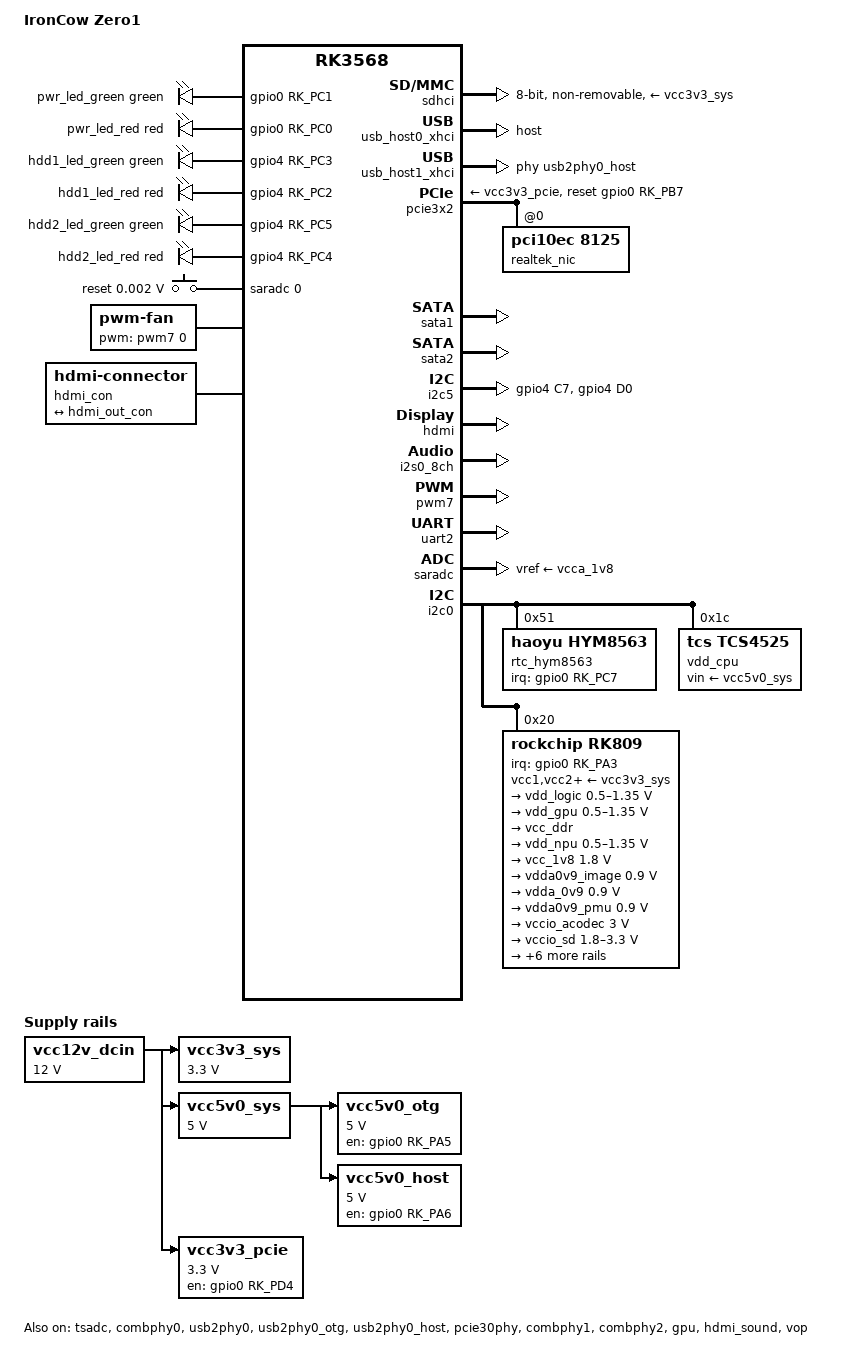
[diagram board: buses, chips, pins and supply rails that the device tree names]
// SPDX-License-Identifier: (GPL-2.0+ OR MIT)

/dts-v1/;

#include <dt-bindings/gpio/gpio.h>
#include <dt-bindings/pinctrl/rockchip.h>
#include <dt-bindings/leds/common.h>
#include <dt-bindings/input/input.h>
#include <dt-bindings/soc/rockchip,vop2.h>
#include "rk3568.dtsi"

/ {
	model = "IronCow Zero1";
	compatible = "yxk,ironcow-zero1", "rockchip,rk3568";

	aliases {
		/* U-Boot writes the MAC address into the node this points at */
		ethernet0 = &realtek_nic;
		mmc0 = &sdhci; /* eMMC */
		rtc0 = &rtc_hym8563; /* Primary Battery-Backed RTC */
		rtc1 = &rk809; /* Secondary PMIC RTC */
	};

	chosen {
		stdout-path = "serial2:1500000n8";
	};

	/* --- POWER REGULATORS --- */
	vcc12v_dcin: regulator-vcc12v-dcin {
		compatible = "regulator-fixed";
		regulator-name = "dc-12v";
		regulator-always-on;
		regulator-boot-on;
		regulator-min-microvolt = <12000000>;
		regulator-max-microvolt = <12000000>;
	};

	vcc3v3_sys: regulator-vcc3v3-sys {
		compatible = "regulator-fixed";
		regulator-name = "vcc3v3_sys";
		regulator-always-on;
		regulator-boot-on;
		regulator-min-microvolt = <3300000>;
		regulator-max-microvolt = <3300000>;
		vin-supply = <&vcc12v_dcin>;
	};

	vcc5v0_sys: regulator-vcc5v0-sys {
		compatible = "regulator-fixed";
		regulator-name = "vcc5v0_sys";
		regulator-always-on;
		regulator-boot-on;
		regulator-min-microvolt = <5000000>;
		regulator-max-microvolt = <5000000>;
		vin-supply = <&vcc12v_dcin>;
	};

	vcc3v3_pcie: regulator-vcc3v3-pcie {
		compatible = "regulator-fixed";
		regulator-name = "vcc3v3_pcie";
		regulator-min-microvolt = <3300000>;
		regulator-max-microvolt = <3300000>;
		enable-active-high;
		gpio = <&gpio0 RK_PD4 GPIO_ACTIVE_HIGH>;
		startup-delay-us = <50000>;
		regulator-always-on;
		regulator-boot-on;
		vin-supply = <&vcc12v_dcin>;
	};

	vcc5v0_otg: regulator-vcc5v0-otg {
		compatible = "regulator-fixed";
		regulator-name = "vcc5v0_otg";
		regulator-min-microvolt = <5000000>;
		regulator-max-microvolt = <5000000>;
		enable-active-high;
		gpio = <&gpio0 RK_PA5 GPIO_ACTIVE_HIGH>;
		regulator-always-on;
		regulator-boot-on;
		vin-supply = <&vcc5v0_sys>;
	};

	/* 5 V for the USB 2.0 Type-C port. Factory DTB: vcc5v0_host, GPIO0 PA6. */
	vcc5v0_host: regulator-vcc5v0-host {
		compatible = "regulator-fixed";
		regulator-name = "vcc5v0_host";
		regulator-min-microvolt = <5000000>;
		regulator-max-microvolt = <5000000>;
		enable-active-high;
		gpio = <&gpio0 RK_PA6 GPIO_ACTIVE_HIGH>;
		vin-supply = <&vcc5v0_sys>;
	};

	/* --- LEDS --- */
	leds {
		compatible = "gpio-leds";

		/* Two-colour power LED */
		pwr_led_green: led-0 {
			color = <LED_COLOR_ID_GREEN>;
			function = LED_FUNCTION_POWER;
			gpios = <&gpio0 RK_PC1 GPIO_ACTIVE_HIGH>;
			default-state = "on";
		};

		pwr_led_red: led-1 {
			color = <LED_COLOR_ID_RED>;
			function = LED_FUNCTION_POWER;
			gpios = <&gpio0 RK_PC0 GPIO_ACTIVE_HIGH>;
		};

		/*
		 * Two-colour LED per drive bay. The disk-activity trigger is not
		 * per port: both green LEDs blink on any SATA activity.
		 */
		hdd1_led_green: led-2 {
			color = <LED_COLOR_ID_GREEN>;
			function = LED_FUNCTION_DISK;
			function-enumerator = <1>;
			gpios = <&gpio4 RK_PC3 GPIO_ACTIVE_HIGH>;
			linux,default-trigger = "disk-activity";
		};

		hdd1_led_red: led-3 {
			color = <LED_COLOR_ID_RED>;
			function = LED_FUNCTION_DISK;
			function-enumerator = <1>;
			gpios = <&gpio4 RK_PC2 GPIO_ACTIVE_HIGH>;
		};

		hdd2_led_green: led-4 {
			color = <LED_COLOR_ID_GREEN>;
			function = LED_FUNCTION_DISK;
			function-enumerator = <2>;
			gpios = <&gpio4 RK_PC5 GPIO_ACTIVE_HIGH>;
			linux,default-trigger = "disk-activity";
		};

		hdd2_led_red: led-5 {
			color = <LED_COLOR_ID_RED>;
			function = LED_FUNCTION_DISK;
			function-enumerator = <2>;
			gpios = <&gpio4 RK_PC4 GPIO_ACTIVE_HIGH>;
		};
	};

	/* --- BUTTONS --- */
	adc-keys {
		compatible = "adc-keys";
		io-channels = <&saradc 0>;
		io-channel-names = "buttons";
		keyup-threshold-microvolt = <1800000>;

		/* Rear RESET button: pulls SARADC channel 0 to ground */
		button-reset {
			label = "reset";
			linux,code = <KEY_RESTART>;
			press-threshold-microvolt = <1750>;
		};
	};

	/* --- BUZZER --- */
	/*
	 * Disabled on purpose. Once enabled it sounds on every console bell,
	 * and a storage box that shrieks from a cupboard has never helped
	 * anyone. If you want it anyway, set status = "okay" here or from an
	 * overlay. Pin and polarity are from the factory DTB (buzzer_gpio);
	 * not tested with this driver.
	 */
	buzzer: gpio-beeper {
		compatible = "gpio-beeper";
		gpios = <&gpio0 RK_PC2 GPIO_ACTIVE_HIGH>;
		status = "disabled";
	};

	/* --- FAN --- */
	/*
	 * Cools the drive bays, not the SoC, so it is in no thermal zone.
	 * The driver starts at the highest level listed: 178/255 = 70%.
	 * Userspace sets the speed through hwmon pwm1.
	 */
	fan: pwm-fan {
		compatible = "pwm-fan";
		#cooling-cells = <2>;
		pwms = <&pwm7 0 50000 0>;
		cooling-levels = <178>;
	};

	/* --- HDMI --- */
	hdmi_con: hdmi-connector {
		compatible = "hdmi-connector";
		type = "a";

		port {
			hdmi_con_in: endpoint {
				remote-endpoint = <&hdmi_out_con>;
			};
		};
	};
};

/* --- CPU & Thermal --- */
&cpu0 {
	cpu-supply = <&vdd_cpu>;
};

&cpu1 {
	cpu-supply = <&vdd_cpu>;
};

&cpu2 {
	cpu-supply = <&vdd_cpu>;
};

&cpu3 {
	cpu-supply = <&vdd_cpu>;
};

&tsadc {
	/*
	 * Shut down through the TSHUT pin, active low; also the driver's
	 * defaults. Tested on the board: this resets it at the trip point,
	 * while mode 0 (reset through the CRU, the factory DTB's value)
	 * hangs it.
	 */
	rockchip,hw-tshut-mode = <1>;
	rockchip,hw-tshut-polarity = <0>;
	status = "okay";
};

/* --- STORAGE --- */
&sdhci {
	bus-width = <8>;
	max-frequency = <200000000>;

	cap-mmc-highspeed;
	mmc-hs200-1_8v;

	/* eMMC only: skip the SD and SDIO probes */
	no-sd;
	no-sdio;
	non-removable;

	pinctrl-names = "default";
	pinctrl-0 = <&emmc_bus8 &emmc_clk &emmc_cmd &emmc_datastrobe>;

	vmmc-supply = <&vcc3v3_sys>;
	vqmmc-supply = <&vcc_1v8>;
	status = "okay";
};

/* --- USB CONFIGURATION --- */
/* Rear USB 3.0 Type-A port: the dual-role controller, used as a host */
&usb_host0_xhci {
	dr_mode = "host";
	status = "okay";
};

&combphy0 {
	phy-supply = <&vcc5v0_otg>;
	status = "okay";
};

&usb2phy0 {
	status = "okay";
};

&usb2phy0_otg {
	vbus-supply = <&vcc5v0_otg>;
	status = "okay";
};

/*
 * USB 2.0 Type-C port: the host-only controller, on usb2phy0's host port.
 * The SoC default also lists combphy1 as a USB 3.0 PHY here, but combphy1
 * is SATA1's PHY on this board, so limit the controller to USB 2.0.
 */
&usb2phy0_host {
	phy-supply = <&vcc5v0_host>;
	status = "okay";
};

&usb_host1_xhci {
	phys = <&usb2phy0_host>;
	phy-names = "usb2-phy";
	maximum-speed = "high-speed";
	status = "okay";
};

/* --- NETWORK --- */
/*
 * RTL8125B 2.5 GbE on PCIe 3.0. It has no MAC address of its own;
 * U-Boot fills one in through the ethernet0 alias.
 */
&pcie3x2 {
	reset-gpios = <&gpio0 RK_PB7 GPIO_ACTIVE_HIGH>;
	vpcie3v3-supply = <&vcc3v3_pcie>;
	status = "okay";

	pcie@0,0 {
		reg = <0x200000 0 0 0 0>;
		#address-cells = <3>;
		#size-cells = <2>;

		realtek_nic: pcie-eth@0,0 {
			compatible = "pci10ec,8125";
			reg = <0 0 0 0 0>;
		};
	};
};

&pcie30phy {
	status = "okay";
};

/* --- SATA --- */
&sata1 {
	status = "okay";
};

&sata2 {
	status = "okay";
};

&combphy1 {
	status = "okay";
};

&combphy2 {
	status = "okay";
};

/* --- VIDEO --- */
&gpu {
	mali-supply = <&vdd_gpu>;
	status = "okay";
};

/*
 * EDID is read through the general-purpose I2C5 controller, not the HDMI
 * block's own DDC. Both use the same two pins (gpio4 PC7/PD0, mux function
 * 1 for HDMI DDC, 2 for I2C5), so the HDMI node claims only CEC. With the
 * built-in DDC the kernel found no usable modes on this board.
 */
&i2c5 {
	pinctrl-names = "default";
	pinctrl-0 = <&i2c5m1_xfer>;
	status = "okay";
};

&hdmi {
	ddc-i2c-bus = <&i2c5>;
	pinctrl-names = "default";
	pinctrl-0 = <&hdmitxm0_cec>;
	avdd-0v9-supply = <&vdda0v9_image>;
	avdd-1v8-supply = <&vcca1v8_image>;
	status = "okay";
};

&hdmi_in {
	hdmi_in_vp0: endpoint {
		remote-endpoint = <&vp0_out_hdmi>;
	};
};

&hdmi_out {
	hdmi_out_con: endpoint {
		remote-endpoint = <&hdmi_con_in>;
	};
};

&hdmi_sound {
	status = "okay";
};

/* The I2S controller wired to the HDMI transmitter inside the SoC */
&i2s0_8ch {
	status = "okay";
};

&vop {
	assigned-clocks = <&cru DCLK_VOP0>, <&cru DCLK_VOP1>;
	assigned-clock-parents = <&pmucru PLL_HPLL>, <&cru PLL_VPLL>;
	status = "okay";
};

&vop_mmu {
	status = "okay";
};

/* VOP2 only creates an output for a video port that has an endpoint */
&vp0 {
	vp0_out_hdmi: endpoint@ROCKCHIP_VOP2_EP_HDMI0 {
		reg = <ROCKCHIP_VOP2_EP_HDMI0>;
		remote-endpoint = <&hdmi_in_vp0>;
	};
};

/* --- PERIPHERALS --- */
&pwm7 {
	status = "okay";
};

&uart2 {
	status = "okay";
};

&saradc {
	vref-supply = <&vcca_1v8>;
	status = "okay";
};

/* --- PMIC / RTC --- */
&pmu_io_domains {
	/*
	 * pmuio2, vccio1 and vccio3-7 as in the factory DTB. pmuio1 and
	 * vccio2 are listed as other RK3568 boards do; the driver does not
	 * program either of them.
	 */
	pmuio1-supply = <&vcc3v3_pmu>;
	pmuio2-supply = <&vcc3v3_pmu>;
	vccio1-supply = <&vccio_acodec>;
	vccio2-supply = <&vcc_1v8>;
	vccio3-supply = <&vccio_sd>;
	vccio4-supply = <&vcc_3v3>;
	vccio5-supply = <&vcc_3v3>;
	vccio6-supply = <&vcc_3v3>;
	vccio7-supply = <&vcc_3v3>;
	status = "okay";
};

&i2c0 {
	status = "okay";

	/* Battery-Backed RTC */
	rtc_hym8563: rtc@51 {
		compatible = "haoyu,hym8563";
		reg = <0x51>;
		interrupt-parent = <&gpio0>;
		interrupts = <RK_PC7 IRQ_TYPE_LEVEL_LOW>;
		#clock-cells = <0>;
		clock-output-names = "hym8563";
		pinctrl-names = "default";
		pinctrl-0 = <&hym8563_int>;
		wakeup-source;
	};

	vdd_cpu: regulator@1c {
		compatible = "tcs,tcs4525";
		reg = <0x1c>;
		/* Register 0x11 is the live one on this board; 0x10 is for suspend */
		fcs,suspend-voltage-selector = <1>;
		vin-supply = <&vcc5v0_sys>;
		regulator-name = "vdd_cpu";
		regulator-min-microvolt = <712500>;
		regulator-max-microvolt = <1150000>;
		regulator-ramp-delay = <2300>;
		regulator-always-on;
		regulator-boot-on;

		regulator-state-mem {
			regulator-off-in-suspend;
		};
	};

	rk809: pmic@20 {
		compatible = "rockchip,rk809";
		reg = <0x20>;
		interrupt-parent = <&gpio0>;
		interrupts = <RK_PA3 IRQ_TYPE_LEVEL_LOW>;
		#clock-cells = <1>;
		pinctrl-names = "default";
		pinctrl-0 = <&pmic_int>;
		system-power-controller;

		vcc1-supply = <&vcc3v3_sys>;
		vcc2-supply = <&vcc3v3_sys>;
		vcc3-supply = <&vcc3v3_sys>;
		vcc4-supply = <&vcc3v3_sys>;
		vcc5-supply = <&vcc3v3_sys>;
		vcc6-supply = <&vcc3v3_sys>;
		vcc7-supply = <&vcc3v3_sys>;
		vcc8-supply = <&vcc3v3_sys>;
		vcc9-supply = <&vcc3v3_sys>;

		regulators {
			vdd_logic: DCDC_REG1 {
				regulator-name = "vdd_logic";
				regulator-always-on;
				regulator-boot-on;
				regulator-min-microvolt = <500000>;
				regulator-max-microvolt = <1350000>;
				regulator-initial-mode = <0x2>;

				regulator-state-mem {
					regulator-off-in-suspend;
				};
			};

			vdd_gpu: DCDC_REG2 {
				regulator-name = "vdd_gpu";
				regulator-always-on;
				regulator-boot-on;
				regulator-min-microvolt = <500000>;
				regulator-max-microvolt = <1350000>;
				regulator-initial-mode = <0x2>;

				regulator-state-mem {
					regulator-off-in-suspend;
				};
			};

			vcc_ddr: DCDC_REG3 {
				regulator-name = "vcc_ddr";
				regulator-always-on;
				regulator-boot-on;
				regulator-initial-mode = <0x2>;

				regulator-state-mem {
					regulator-on-in-suspend;
				};
			};

			vdd_npu: DCDC_REG4 {
				regulator-name = "vdd_npu";
				regulator-always-on;
				regulator-boot-on;
				regulator-min-microvolt = <500000>;
				regulator-max-microvolt = <1350000>;
				regulator-initial-mode = <0x2>;

				regulator-state-mem {
					regulator-off-in-suspend;
				};
			};

			vcc_1v8: DCDC_REG5 {
				regulator-name = "vcc_1v8";
				regulator-always-on;
				regulator-boot-on;
				regulator-min-microvolt = <1800000>;
				regulator-max-microvolt = <1800000>;

				regulator-state-mem {
					regulator-off-in-suspend;
				};
			};

			vdda0v9_image: LDO_REG1 {
				regulator-name = "vdda0v9_image";
				regulator-always-on;
				regulator-boot-on;
				regulator-min-microvolt = <900000>;
				regulator-max-microvolt = <900000>;

				regulator-state-mem {
					regulator-off-in-suspend;
				};
			};

			vdda_0v9: LDO_REG2 {
				regulator-name = "vdda_0v9";
				regulator-always-on;
				regulator-boot-on;
				regulator-min-microvolt = <900000>;
				regulator-max-microvolt = <900000>;

				regulator-state-mem {
					regulator-off-in-suspend;
				};
			};

			vdda0v9_pmu: LDO_REG3 {
				regulator-name = "vdda0v9_pmu";
				regulator-always-on;
				regulator-boot-on;
				regulator-min-microvolt = <900000>;
				regulator-max-microvolt = <900000>;

				regulator-state-mem {
					regulator-on-in-suspend;
					regulator-suspend-microvolt = <900000>;
				};
			};

			vccio_acodec: LDO_REG4 {
				regulator-name = "vccio_acodec";
				regulator-always-on;
				regulator-boot-on;
				regulator-min-microvolt = <3000000>;
				regulator-max-microvolt = <3000000>;

				regulator-state-mem {
					regulator-off-in-suspend;
				};
			};

			vccio_sd: LDO_REG5 {
				regulator-name = "vccio_sd";
				regulator-always-on;
				regulator-boot-on;
				regulator-min-microvolt = <1800000>;
				regulator-max-microvolt = <3300000>;

				regulator-state-mem {
					regulator-off-in-suspend;
				};
			};

			vcc3v3_pmu: LDO_REG6 {
				regulator-name = "vcc3v3_pmu";
				regulator-always-on;
				regulator-boot-on;
				regulator-min-microvolt = <3300000>;
				regulator-max-microvolt = <3300000>;

				regulator-state-mem {
					regulator-on-in-suspend;
					regulator-suspend-microvolt = <3300000>;
				};
			};

			vcca_1v8: LDO_REG7 {
				regulator-name = "vcca_1v8";
				regulator-always-on;
				regulator-boot-on;
				regulator-min-microvolt = <1800000>;
				regulator-max-microvolt = <1800000>;

				regulator-state-mem {
					regulator-off-in-suspend;
				};
			};

			vcca1v8_pmu: LDO_REG8 {
				regulator-name = "vcca1v8_pmu";
				regulator-always-on;
				regulator-boot-on;
				regulator-min-microvolt = <1800000>;
				regulator-max-microvolt = <1800000>;

				regulator-state-mem {
					regulator-on-in-suspend;
					regulator-suspend-microvolt = <1800000>;
				};
			};

			vcca1v8_image: LDO_REG9 {
				regulator-name = "vcca1v8_image";
				regulator-always-on;
				regulator-boot-on;
				regulator-min-microvolt = <1800000>;
				regulator-max-microvolt = <1800000>;

				regulator-state-mem {
					regulator-off-in-suspend;
				};
			};

			vcc_3v3: SWITCH_REG1 {
				regulator-name = "vcc_3v3";
				regulator-always-on;
				regulator-boot-on;

				regulator-state-mem {
					regulator-off-in-suspend;
				};
			};

			vcc3v3_sd: SWITCH_REG2 {
				regulator-name = "vcc3v3_sd";
				regulator-always-on;
				regulator-boot-on;

				regulator-state-mem {
					regulator-off-in-suspend;
				};
			};
		};
	};
};

/* Pin Control Mappings */
&pinctrl {
	i2c5 {
		/*
		 * Replaces mainline's group of the same name: same pins and
		 * function, without the Schmitt trigger. HDMI EDID was brought
		 * up with this setting.
		 */
		i2c5m1_xfer: i2c5m1-xfer {
			rockchip,pins =
				/* i2c5_sclm1 */
				<4 RK_PC7 2 &pcfg_pull_none>,
				/* i2c5_sdam1 */
				<4 RK_PD0 2 &pcfg_pull_none>;
		};
	};

	pmic {
		pmic_int: pmic-int {
			rockchip,pins = <0 RK_PA3 RK_FUNC_GPIO &pcfg_pull_up>;
		};
	};

	hym8563 {
		hym8563_int: hym8563-int {
			rockchip,pins = <0 RK_PC7 RK_FUNC_GPIO &pcfg_pull_up>;
		};
	};
};
